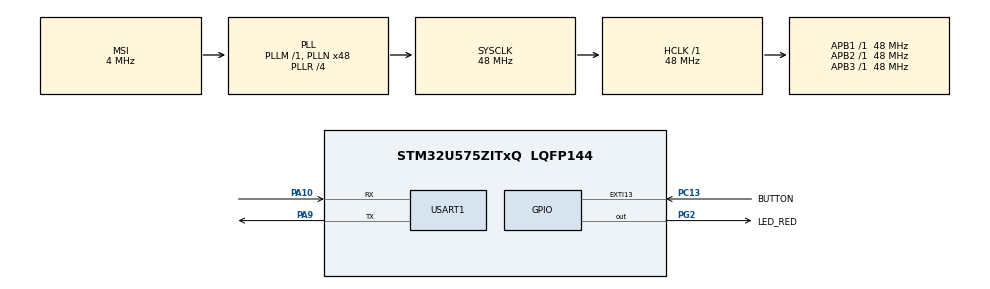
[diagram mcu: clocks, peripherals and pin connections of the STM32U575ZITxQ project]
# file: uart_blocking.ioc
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CORTEX_M33_NS.userName=CORTEX_M33
Mcu.Family=STM32U5
Mcu.Name=STM32U575ZITxQ
Mcu.Package=LQFP144
NVIC.EXTI13_IRQn=true\:5\:0\:true\:false\:true\:true\:true\:true
NVIC.PriorityGroup=NVIC_PRIORITYGROUP_4
PA10.Mode=Asynchronous
PA10.Signal=USART1_RX
PA9.Mode=Asynchronous
PA9.Signal=USART1_TX
PC13.GPIO_Label=BUTTON
PC13.GPIO_ModeDefaultEXTI=GPIO_MODE_IT_RISING_FALLING
PC13.Signal=GPXTI13
PC14-OSC32_IN\ (PC14).Mode=LSE-External-Oscillator
PC14-OSC32_IN\ (PC14).Signal=RCC_OSC32_IN
PC15-OSC32_OUT\ (PC15).Mode=LSE-External-Oscillator
PC15-OSC32_OUT\ (PC15).Signal=RCC_OSC32_OUT
PG2.GPIO_Label=LED_RED
PG2.Signal=GPIO_Output
PWR.PowerMode=PWR_SMPS_SUPPLY
ProjectManager.HeapSize=0x200
ProjectManager.StackSize=0x400
ProjectManager.TargetToolchain=STM32CubeIDE
RCC.ADCFreq_Value=16000000
RCC.AHBFreq_Value=48000000
RCC.APB1Freq_Value=48000000
RCC.APB1TimFreq_Value=48000000
RCC.APB2Freq_Value=48000000
RCC.APB2TimFreq_Value=48000000
RCC.APB3Freq_Value=48000000
RCC.CortexFreq_Value=48000000
RCC.EPOD_VALUE=4000000
RCC.HCLKFreq_Value=48000000
RCC.HSE_VALUE=16000000
RCC.HSI48_VALUE=48000000
RCC.HSI_VALUE=16000000
RCC.LSIDIV_VALUE=32000
RCC.MSIAutoCalibration=PLLMODE_MSIS
RCC.MSI_VALUE=4000000
RCC.PLL1R=4
RCC.PLLN=48
RCC.SYSCLKFreq_VALUE=48000000
RCC.SYSCLKSource=RCC_SYSCLKSOURCE_PLLCLK
RCC.USBFreq_Value=48000000
RCC.VCOOutputFreq_Value=192000000
USART1.VirtualMode-Asynchronous=VM_ASYNC
VP_ICACHE_VS_ICACHE.Mode=DirectMappedCache
VP_LPBAMQUEUE_VS_QUEUE.Mode=QUEUEMODE
VP_LPBAM_VS_SIG1.Mode=SmartRun
VP_LPBAM_VS_SIG4.Mode=LPDMA1
VP_MEMORYMAP_VS_MEMORYMAP.Mode=CurAppReg
VP_PWR_VS_LPOM.Mode=PowerOptimisation
VP_PWR_VS_SECSignals.Mode=Security/Privilege
board=custom

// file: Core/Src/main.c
/* USER CODE BEGIN Header */
/**
  ******************************************************************************
  * @file           : main.c
  * @brief          : Main program body
  ******************************************************************************
  * @attention
  *
  * Copyright (c) 2025 STMicroelectronics.
  * All rights reserved.
  *
  * This software is licensed under terms that can be found in the LICENSE file
  * in the root directory of this software component.
  * If no LICENSE file comes with this software, it is provided AS-IS.
  *
  ******************************************************************************
  */
/* USER CODE END Header */
#include "main.h"

/* USER CODE BEGIN Includes */
#include <string.h>
#include "interrupt_callbacks.h"
/* USER CODE END Includes */

UART_HandleTypeDef huart1;

void SystemClock_Config(void);
static void SystemPower_Config(void);
static void MX_GPIO_Init(void);
static void MX_ICACHE_Init(void);
static void MX_USART1_UART_Init(void);

int main(void)
{

  /* USER CODE BEGIN 1 */
  HAL_StatusTypeDef status;
  uint8_t uart_rx_buf[16];
  uint8_t uart_tx_buf[16];
  /* USER CODE END 1 */

  /* MCU Configuration--------------------------------------------------------*/

  /* Reset of all peripherals, Initializes the Flash interface and the Systick. */
  HAL_Init();

  /* Configure the System Power */
  SystemPower_Config();

  /* Configure the system clock */
  SystemClock_Config();

  /* Initialize all configured peripherals */
  MX_GPIO_Init();
  MX_ICACHE_Init();
  MX_USART1_UART_Init();

  /* Infinite loop */
  /* USER CODE BEGIN WHILE */
  while (1)
  {
	  status = HAL_UART_Receive(&huart1, uart_rx_buf, 4U, HAL_MAX_DELAY);
	  if (status == HAL_OK) {
		  memcpy(uart_tx_buf, uart_rx_buf, 4U);
		  uart_tx_buf[4] = '\r';
		  uart_tx_buf[5] = '\n';
		  status = HAL_UART_Transmit(&huart1, uart_tx_buf, 6U, HAL_MAX_DELAY);
	  }

	  if (button_rising) {
		  button_rising = 0U;
		  HAL_GPIO_WritePin(LED_RED_GPIO_Port, LED_RED_Pin, GPIO_PIN_SET);
	  }

	  if (button_falling) {
		  button_falling = 0U;
		  HAL_GPIO_WritePin(LED_RED_GPIO_Port, LED_RED_Pin, GPIO_PIN_RESET);
	  }
    /* USER CODE END WHILE */

  }
}

void SystemClock_Config(void)
{
  RCC_OscInitTypeDef RCC_OscInitStruct = {0};
  RCC_ClkInitTypeDef RCC_ClkInitStruct = {0};

  /** Configure the main internal regulator output voltage
  */
  if (HAL_PWREx_ControlVoltageScaling(PWR_REGULATOR_VOLTAGE_SCALE3) != HAL_OK)
  {
    Error_Handler();
  }

  /** Configure LSE Drive Capability
  */
  HAL_PWR_EnableBkUpAccess();
  __HAL_RCC_LSEDRIVE_CONFIG(RCC_LSEDRIVE_LOW);

  /** Initializes the CPU, AHB and APB buses clocks
  */
  RCC_OscInitStruct.OscillatorType = RCC_OSCILLATORTYPE_LSE|RCC_OSCILLATORTYPE_MSI;
  RCC_OscInitStruct.LSEState = RCC_LSE_ON;
  RCC_OscInitStruct.MSIState = RCC_MSI_ON;
  RCC_OscInitStruct.MSICalibrationValue = RCC_MSICALIBRATION_DEFAULT;
  RCC_OscInitStruct.MSIClockRange = RCC_MSIRANGE_4;
  RCC_OscInitStruct.PLL.PLLState = RCC_PLL_ON;
  RCC_OscInitStruct.PLL.PLLSource = RCC_PLLSOURCE_MSI;
  RCC_OscInitStruct.PLL.PLLMBOOST = RCC_PLLMBOOST_DIV1;
  RCC_OscInitStruct.PLL.PLLM = 1;
  RCC_OscInitStruct.PLL.PLLN = 48;
  RCC_OscInitStruct.PLL.PLLP = 2;
  RCC_OscInitStruct.PLL.PLLQ = 2;
  RCC_OscInitStruct.PLL.PLLR = 4;
  RCC_OscInitStruct.PLL.PLLRGE = RCC_PLLVCIRANGE_0;
  RCC_OscInitStruct.PLL.PLLFRACN = 0;
  if (HAL_RCC_OscConfig(&RCC_OscInitStruct) != HAL_OK)
  {
    Error_Handler();
  }

  /** Initializes the CPU, AHB and APB buses clocks
  */
  RCC_ClkInitStruct.ClockType = RCC_CLOCKTYPE_HCLK|RCC_CLOCKTYPE_SYSCLK
                              |RCC_CLOCKTYPE_PCLK1|RCC_CLOCKTYPE_PCLK2
                              |RCC_CLOCKTYPE_PCLK3;
  RCC_ClkInitStruct.SYSCLKSource = RCC_SYSCLKSOURCE_PLLCLK;
  RCC_ClkInitStruct.AHBCLKDivider = RCC_SYSCLK_DIV1;
  RCC_ClkInitStruct.APB1CLKDivider = RCC_HCLK_DIV1;
  RCC_ClkInitStruct.APB2CLKDivider = RCC_HCLK_DIV1;
  RCC_ClkInitStruct.APB3CLKDivider = RCC_HCLK_DIV1;

  if (HAL_RCC_ClockConfig(&RCC_ClkInitStruct, FLASH_LATENCY_1) != HAL_OK)
  {
    Error_Handler();
  }

  /** Enable MSI Auto calibration
  */
  HAL_RCCEx_EnableMSIPLLModeSelection(RCC_MSISPLL_MODE_SEL);
  HAL_RCCEx_EnableMSIPLLMode();
}

/**
  * @brief Power Configuration
  * @retval None
  */
static void SystemPower_Config(void)
{
  HAL_PWREx_EnableVddIO2();

  /*
   * Switch to SMPS regulator instead of LDO
   */
  if (HAL_PWREx_ConfigSupply(PWR_SMPS_SUPPLY) != HAL_OK)
  {
    Error_Handler();
  }
}

static void MX_ICACHE_Init(void)
{

  /** Enable instruction cache in 1-way (direct mapped cache)
  */
  if (HAL_ICACHE_ConfigAssociativityMode(ICACHE_1WAY) != HAL_OK)
  {
    Error_Handler();
  }
  if (HAL_ICACHE_Enable() != HAL_OK)
  {
    Error_Handler();
  }

}

static void MX_USART1_UART_Init(void)
{

  huart1.Instance = USART1;
  huart1.Init.BaudRate = 115200;
  huart1.Init.WordLength = UART_WORDLENGTH_8B;
  huart1.Init.StopBits = UART_STOPBITS_1;
  huart1.Init.Parity = UART_PARITY_NONE;
  huart1.Init.Mode = UART_MODE_TX_RX;
  huart1.Init.HwFlowCtl = UART_HWCONTROL_NONE;
  huart1.Init.OverSampling = UART_OVERSAMPLING_16;
  huart1.Init.OneBitSampling = UART_ONE_BIT_SAMPLE_DISABLE;
  huart1.Init.ClockPrescaler = UART_PRESCALER_DIV1;
  huart1.AdvancedInit.AdvFeatureInit = UART_ADVFEATURE_NO_INIT;
  if (HAL_UART_Init(&huart1) != HAL_OK)
  {
    Error_Handler();
  }
  if (HAL_UARTEx_SetTxFifoThreshold(&huart1, UART_TXFIFO_THRESHOLD_1_8) != HAL_OK)
  {
    Error_Handler();
  }
  if (HAL_UARTEx_SetRxFifoThreshold(&huart1, UART_RXFIFO_THRESHOLD_1_8) != HAL_OK)
  {
    Error_Handler();
  }
  if (HAL_UARTEx_DisableFifoMode(&huart1) != HAL_OK)
  {
    Error_Handler();
  }

}

static void MX_GPIO_Init(void)
{
  GPIO_InitTypeDef GPIO_InitStruct = {0};

  /* GPIO Ports Clock Enable */
  __HAL_RCC_GPIOC_CLK_ENABLE();
  __HAL_RCC_GPIOG_CLK_ENABLE();
  __HAL_RCC_GPIOA_CLK_ENABLE();

  /*Configure GPIO pin Output Level */
  HAL_GPIO_WritePin(LED_RED_GPIO_Port, LED_RED_Pin, GPIO_PIN_RESET);

  /*Configure GPIO pin : BUTTON_Pin */
  GPIO_InitStruct.Pin = BUTTON_Pin;
  GPIO_InitStruct.Mode = GPIO_MODE_IT_RISING_FALLING;
  GPIO_InitStruct.Pull = GPIO_NOPULL;
  HAL_GPIO_Init(BUTTON_GPIO_Port, &GPIO_InitStruct);

  /*Configure GPIO pin : LED_RED_Pin */
  GPIO_InitStruct.Pin = LED_RED_Pin;
  GPIO_InitStruct.Mode = GPIO_MODE_OUTPUT_PP;
  GPIO_InitStruct.Pull = GPIO_NOPULL;
  GPIO_InitStruct.Speed = GPIO_SPEED_FREQ_LOW;
  HAL_GPIO_Init(LED_RED_GPIO_Port, &GPIO_InitStruct);

  /* EXTI interrupt init*/
  HAL_NVIC_SetPriority(EXTI13_IRQn, 5, 0);
  HAL_NVIC_EnableIRQ(EXTI13_IRQn);

}

void Error_Handler(void)
{
  __disable_irq();
  while (1)
  {
  }
}
